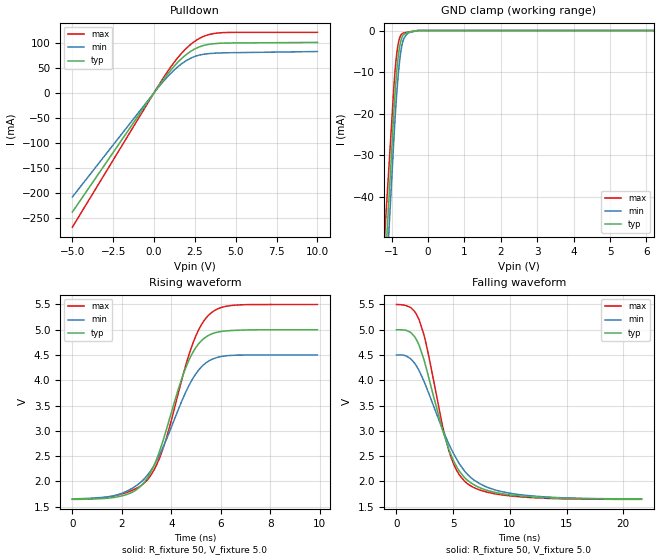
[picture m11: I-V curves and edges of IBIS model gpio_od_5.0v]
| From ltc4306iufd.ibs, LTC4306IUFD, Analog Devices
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[Model]   gpio_od_5.0v
Model_type I/O_open_drain
Vinl=8.000E-01
Vinh=2.000E+00
Vref=5.000E+00
Rref=1.000E+04
Cref=0.000E+00
Vmeas=2.500E+00
C_comp   8.270E-13   7.660E-13   8.870E-13
[Model spec]
Vref  5.00   4.50   5.50
|Vinl
|Vinh
[Voltage Range]   5.000E+00   4.500E+00   5.500E+00
[POWER Clamp Reference]   5.000E+00   4.500E+00   5.500E+00
[GND Clamp Reference]   0.000E+00   0.000E+00   0.000E+00
[Pullup Reference]   5.000E+00   4.500E+00   5.500E+00
[Pulldown Reference]   0.000E+00   0.000E+00   0.000E+00
[Temperature Range]   25   85   -40
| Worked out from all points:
|   slope of the pulldown table from 0 to 0.75 V, typ, clamps not added: 22.2 ohm
|   GND clamp passes 1 mA (typ) near -0.67 V on its own axis
|   rising waveform, R_fixture 50, V_fixture 5.0: 20-80 % time 1.34ns typ, 1.57ns min, 1.38ns max; typ from 1.65 V to 5 V
|   falling waveform, R_fixture 50, V_fixture 5.0: 20-80 % time 2.71ns typ, 3.42ns min, 2.31ns max; typ from 5 V to 1.65 V
[GND Clamp]
-5V       -646.6mA   -686.8mA   -586mA
-1V       -29.62mA   -36.7mA    -22.78mA
-940mV    -20.12mA   -26.8mA    -14.04mA
-900mV    -14.68mA   -20.8mA    -9.313mA
-860mV    -10.12mA   -15.57mA   -5.786mA
-820mV    -6.562mA   -11.11mA   -3.367mA
-780mV    -4.022mA   -7.501mA   -1.884mA
-740mV    -2.371mA   -4.822mA   -1.081mA
-680mV    -1.081mA   -2.366mA   -612.9uA
-560mV    -462.8uA   -724.4uA   -400.9uA
-280mV    0A         0A         0A
10V       0A         0A         0A
[Pulldown]
-5V       -237.7mA   -207.7mA   -268mA
580mV     26.62mA    23.03mA    30.33mA
1V        44.1mA     37.89mA    50.5mA
1.48V     61.64mA    52.41mA    71.03mA
1.96V     75.86mA    63.79mA    88.06mA
2.38V     85.27mA    70.84mA    99.95mA
3.1V      94.73mA    77.02mA    113.2mA
3.96V     98.46mA    79.2mA     119.3mA
10V       100.3mA    82.13mA    120.4mA
[Rising Waveform]
R_fixture = 50
V_fixture = 5.0
V_fixture_min = 4.5
V_fixture_max = 5.5
0s        1.651V     1.654V     1.644V
2.1ns     1.725V     1.783V     1.764V
2.7ns     1.878V     1.958V     1.892V
3.1ns     2.122V     2.166V     2.073V
3.7ns     2.865V     2.714V     2.702V
4.7ns     4.389V     3.888V     4.491V
5.1ns     4.722V     4.202V     4.999V
5.6ns     4.912V     4.405V     5.331V
6.6ns     4.989V     4.496V     5.488V
9.9ns     5V         4.5V       5.5V
[Falling Waveform]
R_fixture = 50
V_fixture = 5.0
V_fixture_min = 4.5
V_fixture_max = 5.5
0s        5V         4.5V       5.5V
1.2ns     4.954V     4.434V     5.445V
2ns       4.689V     4.187V     5.193V
2.6ns     4.263V     3.884V     4.733V
4.6ns     2.641V     2.747V     2.621V
5.3ns     2.29V      2.44V      2.22V
6.2ns     2.032V     2.151V     1.963V
8ns       1.82V      1.883V     1.785V
10.5ns    1.718V     1.747V     1.701V
21.6ns    1.651V     1.654V     1.644V
[Ramp]
dV/dt_r   2.0093E+00/1.3430E-09   1.7075E+00/1.5630E-09   2.3139E+00/1.3830E-09
dV/dt_f   2.0093E+00/2.7069E-09   1.7075E+00/3.4146E-09   2.3139E+00/2.3066E-09
R_load = 50
